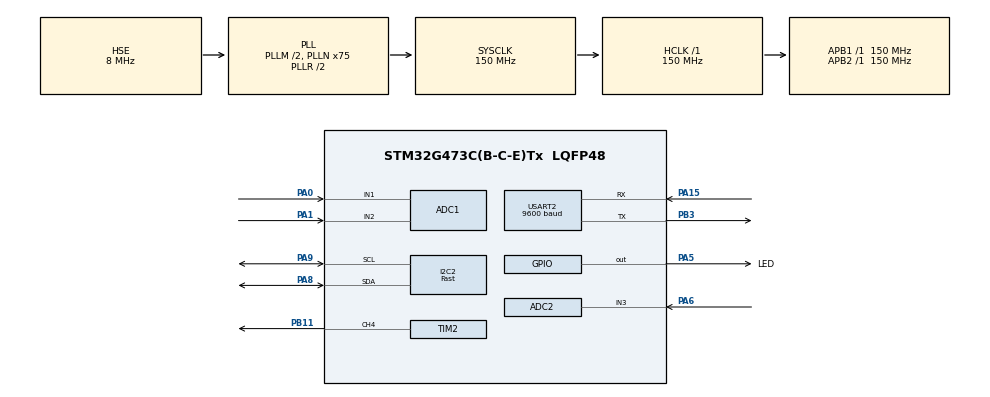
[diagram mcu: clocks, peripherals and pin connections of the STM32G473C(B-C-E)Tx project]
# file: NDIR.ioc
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ADC1.Channel-0\#ChannelRegularConversion=ADC_CHANNEL_1
ADC1.Channel-1\#ChannelRegularConversion=ADC_CHANNEL_2
ADC1.ClockPrescaler=ADC_CLOCK_ASYNC_DIV16
ADC1.ContinuousConvMode=DISABLE
ADC1.DMAContinuousRequests=ENABLE
ADC1.ExternalTrigConv=ADC_EXTERNALTRIG_T15_TRGO
ADC1.NbrOfConversion=2
ADC1.NbrOfConversionFlag=1
ADC1.OffsetNumber-0\#ChannelRegularConversion=ADC_OFFSET_NONE
ADC1.OffsetNumber-1\#ChannelRegularConversion=ADC_OFFSET_NONE
ADC1.Rank-0\#ChannelRegularConversion=1
ADC1.Rank-1\#ChannelRegularConversion=2
ADC1.SamplingTime-0\#ChannelRegularConversion=ADC_SAMPLETIME_24CYCLES_5
ADC1.SamplingTime-1\#ChannelRegularConversion=ADC_SAMPLETIME_24CYCLES_5
ADC1.master=1
ADC2.Channel-1\#ChannelRegularConversion=ADC_CHANNEL_3
ADC2.ClockPrescaler=ADC_CLOCK_ASYNC_DIV16
ADC2.ContinuousConvMode=DISABLE
ADC2.DMAContinuousRequests=ENABLE
ADC2.DataAlign=ADC_DATAALIGN_RIGHT
ADC2.ExternalTrigConv=ADC_EXTERNALTRIG_T6_TRGO
ADC2.NbrOfConversionFlag=1
ADC2.OffsetNumber-1\#ChannelRegularConversion=ADC_OFFSET_NONE
ADC2.Rank-1\#ChannelRegularConversion=1
ADC2.Resolution=ADC_RESOLUTION_12B
ADC2.SamplingTime-1\#ChannelRegularConversion=ADC_SAMPLETIME_92CYCLES_5
Dma.ADC1.0.Direction=DMA_PERIPH_TO_MEMORY
Dma.ADC1.0.EventEnable=DISABLE
Dma.ADC1.0.Instance=DMA1_Channel1
Dma.ADC1.0.MemDataAlignment=DMA_MDATAALIGN_HALFWORD
Dma.ADC1.0.MemInc=DMA_MINC_ENABLE
Dma.ADC1.0.Mode=DMA_CIRCULAR
Dma.ADC1.0.PeriphDataAlignment=DMA_PDATAALIGN_HALFWORD
Dma.ADC1.0.PeriphInc=DMA_PINC_DISABLE
Dma.ADC1.0.Polarity=HAL_DMAMUX_REQ_GEN_RISING
Dma.ADC1.0.Priority=DMA_PRIORITY_LOW
Dma.ADC1.0.RequestNumber=1
Dma.ADC1.0.SignalID=NONE
Dma.ADC1.0.SyncEnable=DISABLE
Dma.ADC1.0.SyncPolarity=HAL_DMAMUX_SYNC_NO_EVENT
Dma.ADC1.0.SyncRequestNumber=1
Dma.ADC1.0.SyncSignalID=NONE
Dma.ADC2.1.Direction=DMA_PERIPH_TO_MEMORY
Dma.ADC2.1.EventEnable=DISABLE
Dma.ADC2.1.Instance=DMA1_Channel2
Dma.ADC2.1.MemDataAlignment=DMA_MDATAALIGN_HALFWORD
Dma.ADC2.1.MemInc=DMA_MINC_ENABLE
Dma.ADC2.1.Mode=DMA_CIRCULAR
Dma.ADC2.1.PeriphDataAlignment=DMA_PDATAALIGN_HALFWORD
Dma.ADC2.1.PeriphInc=DMA_PINC_DISABLE
Dma.ADC2.1.Polarity=HAL_DMAMUX_REQ_GEN_RISING
Dma.ADC2.1.Priority=DMA_PRIORITY_LOW
Dma.ADC2.1.RequestNumber=1
Dma.ADC2.1.SignalID=NONE
Dma.ADC2.1.SyncEnable=DISABLE
Dma.ADC2.1.SyncPolarity=HAL_DMAMUX_SYNC_NO_EVENT
Dma.ADC2.1.SyncRequestNumber=1
Dma.ADC2.1.SyncSignalID=NONE
Dma.Request0=ADC1
Dma.Request1=ADC2
I2C2.I2C_Speed_Mode=I2C_Fast
I2C2.Speed=400
I2C2.Timing=0x00E063FF
Mcu.Family=STM32G4
Mcu.Name=STM32G473C(B-C-E)Tx
Mcu.Package=LQFP48
NVIC.DMA1_Channel1_IRQn=true\:5\:0\:true\:false\:true\:false\:true\:true
NVIC.DMA1_Channel2_IRQn=true\:6\:0\:true\:false\:true\:false\:true\:true
NVIC.PriorityGroup=NVIC_PRIORITYGROUP_4
NVIC.TIM3_IRQn=true\:3\:0\:true\:false\:true\:true\:true\:true
NVIC.TIM4_IRQn=true\:2\:0\:true\:false\:true\:true\:true\:true
NVIC.TIM5_IRQn=true\:1\:0\:true\:false\:true\:true\:true\:true
NVIC.TIM7_DAC_IRQn=true\:4\:0\:true\:false\:true\:true\:true\:true
NVIC.USART2_IRQn=true\:0\:0\:true\:false\:true\:true\:true\:true
PA0.Mode=IN1-Single-Ended
PA0.Signal=ADC1_IN1
PA1.Mode=IN2-Single-Ended
PA1.Signal=ADC1_IN2
PA13.Mode=Serial_Wire
PA13.Signal=SYS_JTMS-SWDIO
PA14.Mode=Serial_Wire
PA14.Signal=SYS_JTCK-SWCLK
PA15.Mode=Asynchronous
PA15.Signal=USART2_RX
PA5.GPIO_Label=LED
PA5.Signal=GPIO_Output
PA6.Mode=IN3-Single-Ended
PA6.Signal=ADC2_IN3
PA8.Mode=I2C
PA8.Signal=I2C2_SDA
PA9.Mode=I2C
PA9.Signal=I2C2_SCL
PB11.Signal=S_TIM2_CH4
PB3.Mode=Asynchronous
PB3.Signal=USART2_TX
PF0-OSC_IN.Mode=HSE-External-Oscillator
PF0-OSC_IN.Signal=RCC_OSC_IN
PF1-OSC_OUT.Mode=HSE-External-Oscillator
PF1-OSC_OUT.Signal=RCC_OSC_OUT
ProjectManager.HeapSize=0x200
ProjectManager.StackSize=0x400
ProjectManager.TargetToolchain=Makefile
RCC.ADC12CLockSelection=RCC_ADC12CLKSOURCE_PLL
RCC.ADC12Freq_Value=75000000
RCC.ADC345Freq_Value=150000000
RCC.AHBFreq_Value=150000000
RCC.APB1Freq_Value=150000000
RCC.APB1TimFreq_Value=150000000
RCC.APB2Freq_Value=150000000
RCC.APB2TimFreq_Value=150000000
RCC.CortexFreq_Value=150000000
RCC.EXTERNAL_CLOCK_VALUE=12288000
RCC.HCLKFreq_Value=150000000
RCC.HSE_VALUE=8000000
RCC.HSI48_VALUE=48000000
RCC.HSI_VALUE=16000000
RCC.LSE_VALUE=32768
RCC.PLLM=RCC_PLLM_DIV2
RCC.PLLN=75
RCC.PLLP=RCC_PLLP_DIV4
RCC.PLLSourceVirtual=RCC_PLLSOURCE_HSE
RCC.SYSCLKFreq_VALUE=150000000
RCC.SYSCLKSource=RCC_SYSCLKSOURCE_PLLCLK
RCC.USBFreq_Value=150000000
RCC.VCOOutputFreq_Value=300000000
SH.S_TIM2_CH4.0=TIM2_CH4,PWM Generation4 CH4
TIM15.PeriodNoDither=800-1
TIM15.Prescaler=150-1
TIM15.TIM_MasterOutputTrigger=TIM_TRGO_UPDATE
TIM2.Channel-PWM\ Generation4\ CH4=TIM_CHANNEL_4
TIM2.OCMode_PWM-PWM\ Generation4\ CH4=TIM_OCMODE_PWM2
TIM2.PeriodNoDither=10000-1
TIM2.Prescaler=1-1
TIM2.PulseNoDither_4=7500
TIM3.PeriodNoDither=10000-1
TIM3.Prescaler=15000-1
TIM4.PeriodNoDither=5000-1
TIM4.Prescaler=15000-1
TIM5.PeriodNoDither=100-1
TIM5.Prescaler=1500-1
TIM6.PeriodNoDither=50000-1
TIM6.Prescaler=1500-1
TIM6.TIM_MasterOutputTrigger=TIM_TRGO_UPDATE
TIM7.PeriodNoDither=1000-1
TIM7.Prescaler=150-1
USART2.BaudRate=9600
USART2.VirtualMode-Asynchronous=VM_ASYNC
VP_SYS_VS_DBSignals.Mode=DisableDeadBatterySignals
VP_TIM15_VS_ClockSourceINT.Mode=Internal
VP_TIM2_VS_ClockSourceINT.Mode=Internal
VP_TIM3_VS_ClockSourceINT.Mode=Internal
VP_TIM4_VS_ClockSourceINT.Mode=Internal
VP_TIM5_VS_ClockSourceINT.Mode=Internal
VP_TIM6_VS_ClockSourceINT.Mode=Enable_Timer
VP_TIM7_VS_ClockSourceINT.Mode=Enable_Timer
board=custom

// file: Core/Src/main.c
/* USER CODE BEGIN Header */
/*
                       _oo0oo_
                      o8888888o
                      88" . "88
                      (| -_- |)
                      0\  =  /0
                    ___/`---'\___
                  .' \\|     |// '.
                 / \\|||  :  |||// \
                / _||||| -:- |||||- \
               |   | \\\  -  /// |   |
               | \_|  ''\---/''  |_/ |
               \  .-\__  '-'  ___/-. /
             ___'. .'  /--.--\  `. .'___
          ."" '<  `.___\_<|>_/___.' >' "".
         | | :  `- \`.;`\ _ /`;.`/ - ` : | |
         \  \ `_.   \_ __\ /__ _/   .-` /  /
     =====`-.____`.___ \_____/___.-`___.-'=====
                       `=---='
     ~~~~~~~~~~~~~~~~~~~~~~~~~~~~~~~~~~~~~~~~~~~
*/
/**
 ******************************************************************************
 * @file           : main.c
 * @brief          : Main program body
 ******************************************************************************
 * @attention
 *
 * Copyright (c) 2024 STMicroelectronics.
 * All rights reserved.
 *
 * This software is licensed under terms that can be found in the LICENSE file
 * in the root directory of this software component.
 * If no LICENSE file comes with this software, it is provided AS-IS.
 *
 ******************************************************************************
 */
/* USER CODE END Header */
#include "main.h"
#include "adc.h"
#include "dma.h"
#include "i2c.h"
#include "tim.h"
#include "usart.h"
#include "gpio.h"

/* USER CODE BEGIN Includes */
#include "pid.h"
#include "led.h"
#include "ds18b20.h"
#include "stdio.h"
#include <inttypes.h>
#include <string.h>
#include "ina226.h"
#include "filter.h"
#include "flash.h"
/* USER CODE END Includes */

void SystemClock_Config(void);
/* USER CODE BEGIN PFP */

#define IR 8

#if IR == 1 // 银色 老外
#define IR_PID_P 12.5f
#define IR_PID_I 2.8f
#define IR_PID_D 25.0f
#endif // DEBUG

#if IR == 2 // 002
#define IR_PID_P 11.5f
#define IR_PID_I 1.7f
#define IR_PID_D 20.0f
#endif // DEBUG

#if IR == 3 // 003 CO
#define IR_PID_P 7.2f
#define IR_PID_I 0.9f
#define IR_PID_D 7.0f
#endif // DEBUG

#if IR == 6 // 006
#define IR_PID_P 12.0f
#define IR_PID_I 2.05f
#define IR_PID_D 20.0f
#endif // DEBUG

#if IR == 7 // CO 001
// #define IR_PID_P 13.0f
// #define IR_PID_I 3.2f
// #define IR_PID_D 15.0f
#define IR_PID_P           7.0f
#define IR_PID_I           1.5f
#define IR_PID_D           0.0f
#define IR_PID_MAXOUTPUT   9000
#define IR_PID_MAXINTEGRAL 9000
#endif // DEBUG

#if IR == 8 // CO 002
#define IR_PID_P           12.0f
#define IR_PID_I           2.5f
#define IR_PID_D           5.0f
#define IR_PID_MAXOUTPUT   9000
#define IR_PID_MAXINTEGRAL 9000
#endif // DEBUG

#define DATA_SIZE 5500 // 5500
#define PEAK_SIZE 4

/* USER CODE END PFP */

/* USER CODE BEGIN 0 */
/*****************************************************************/
float SF6_PPM_ADC; // 信号值ADC
uint16_t SF6_PPM;
/*****************************************************************/
uint64_t Flash_Data[32] = {}; // Flash数据
uint8_t SF6_Data[9];          // 数据上传数组
float SF6_Coefficient;        // 标定斜率
float SF6_Intercept;          // 标定截距
/*****************************************************************/
float Temperature = 0;         // 温度
uint16_t Temperarure_Data[10]; // 温度数据
/*****************************************************************/
Mypid_t IR_PID;            // PID参数
extern float Goal_Pow;     // 设定功率值
extern float Goal_Voltage; // 设定电压值
/*****************************************************************/
uint16_t ADC1_Value[DATA_SIZE][2]; // 双通道ADC数据
float ADC_IN1_Data[DATA_SIZE];     // ADC1通道1数据 参比通道
float ADC_IN2_Data[DATA_SIZE];     // ADC1通道2数据 信号通道
float ADC_IN1_FirData[DATA_SIZE];  // ADC1通道1滤波数据
float ADC_IN2_FirData[DATA_SIZE];  // ADC1通道2滤波数据
float PeaktoPeak1[PEAK_SIZE];      // ADC1通道1峰峰值
float MinitoMini1[PEAK_SIZE];      // ADC1通道1谷谷值
float PeaktoPeak2[PEAK_SIZE];      // ADC1通道2峰峰值
float MinitoMini2[PEAK_SIZE];      // ADC1通道2谷谷值
float Peak_Average1;               // 参比通道峰峰值平均
float Min_Average1;                // 参比通道谷谷值平均
float Peak_Min1;                   // 参比通道峰谷值
float Peak_Average2;               // 信号通道峰峰值平均
float Min_Average2;                // 信号通道谷谷值平均
float Peak_Min2;                   // 信号通道峰谷值
/*****************************************************************/
static void SF6_Data_Init(void);
static void SF6_Data_Updata(uint8_t *pData, uint16_t SF6_Data);
/*****************************************************************/
/* USER CODE END 0 */

int main(void)
{

  /* MCU Configuration--------------------------------------------------------*/

  /* Reset of all peripherals, Initializes the Flash interface and the Systick. */
  HAL_Init();

  /* Configure the system clock */
  SystemClock_Config();

  /* Initialize all configured peripherals */
  MX_GPIO_Init();
  MX_DMA_Init();
  MX_ADC1_Init();
  MX_ADC2_Init();
  MX_I2C2_Init();
  MX_USART2_UART_Init();
  MX_TIM2_Init();
  MX_TIM4_Init();
  MX_TIM5_Init();
  MX_TIM6_Init();
  MX_TIM15_Init();
  MX_TIM3_Init();
  MX_TIM7_Init();
  /* USER CODE BEGIN 2 */
    SF6_Data_Init();
    INA226_Init();
    Led_ledOff();
    HAL_TIM_PWM_Start_IT(&htim2, TIM_CHANNEL_4); // 开启PWM通道4
    // HAL_Delay(10000);
    PID_Init(&IR_PID, IR_PID.kp, IR_PID.ki, IR_PID.kd, IR_PID_MAXOUTPUT, IR_PID_MAXINTEGRAL);
    HAL_ADCEx_Calibration_Start(&hadc1, ADC_SINGLE_ENDED); // 初始校准
    HAL_ADCEx_Calibration_Start(&hadc2, ADC_SINGLE_ENDED); // 初始校准

    HAL_ADC_Start_DMA(&hadc2, (uint32_t *)&Temperarure_Data, 10); // 2Hz温度采集
    HAL_TIM_Base_Start_IT(&htim4);
    HAL_TIM_Base_Start_IT(&htim5);
  /* USER CODE END 2 */

  /* Infinite loop */
    while (1) {

    /* USER CODE BEGIN 3 */
        // Flash_Data_Rrase(ADDR_FLASH_PAGE_63);
        // Flash_Data_Write(ADDR_FLASH_PAGE_63, Flash_Data);
        // Flash_Data_Read(ADDR_FLASH_PAGE_63, Flash_Data);

        //   等待驱动信号上升沿
        while (!RI_Status_Get()) {
            Led_ledOff();
        }
        // 上升沿开始采集
        HAL_ADC_Start_DMA(&hadc1, (uint32_t *)ADC1_Value, 2 * DATA_SIZE);
        while (ADC1_Value[DATA_SIZE - 1][1] == 0) {
            Led_ledOff();
        }
        HAL_ADC_Stop_DMA(&hadc1);
        for (uint32_t i = 0; i < DATA_SIZE; i++) {
            ADC_IN1_Data[i]  = ADC1_Value[i][0];
            ADC_IN2_Data[i]  = ADC1_Value[i][1];
            ADC1_Value[i][0] = 0;
            ADC1_Value[i][1] = 0;
        }
        // 采集完成之后进行FIR滤波
        arm_fir_f32_lp(ADC_IN1_Data, ADC_IN1_FirData, DATA_SIZE);
        arm_fir_f32_lp(ADC_IN2_Data, ADC_IN2_FirData, DATA_SIZE);
        NDIR_Data_Processor(ADC_IN1_FirData, PeaktoPeak1, MinitoMini1);
        NDIR_Data_Processor(ADC_IN2_FirData, PeaktoPeak2, MinitoMini2);
        // 分离各峰值和谷值及信号值ADC
        Peak_Average1 = (PeaktoPeak1[0] + PeaktoPeak1[1] + PeaktoPeak1[2] + PeaktoPeak1[3]) / 4;
        Min_Average1  = (MinitoMini1[0] + MinitoMini1[1] + MinitoMini1[2] + MinitoMini1[3]) / 4;
        Peak_Min1     = Peak_Average1 - Min_Average1;

        Peak_Average2 = (PeaktoPeak2[0] + PeaktoPeak2[1] + PeaktoPeak2[2] + PeaktoPeak2[3]) / 4;
        Min_Average2  = (MinitoMini2[0] + MinitoMini2[1] + MinitoMini2[2] + MinitoMini2[3]) / 4;
        Peak_Min2     = Peak_Average2 - Min_Average2;

        SF6_PPM_ADC = ((((PeaktoPeak2[0] - PeaktoPeak1[0]) + (MinitoMini1[0] - MinitoMini2[0]) + (PeaktoPeak2[1] - PeaktoPeak1[1]) + (MinitoMini1[1] - MinitoMini2[1]) + (PeaktoPeak2[2] - PeaktoPeak1[2]) + (MinitoMini1[2] - MinitoMini2[2]) + (PeaktoPeak2[3] - PeaktoPeak1[3]) + (MinitoMini1[3] - MinitoMini2[3])) / 4));
        Temperature = (float)(Average_Filter(Temperarure_Data, 10) * 330) / 4095;
        // printf("%.2f,%.2f,%.2f,%.2f,%.2f,%.2f,%.2f,%.2f\r\n", SF6_PPM_ADC, Temperature, Min_Average1, Peak_Average1, Min_Average2, Peak_Average2, Peak_Min1, Peak_Min2);
        SF6_PPM = (uint16_t)((SF6_Coefficient * SF6_PPM_ADC) + SF6_Intercept);
        // printf("%d,%.2f\r\n", SF6_PPM, SF6_PPM_ADC);
        if (SF6_PPM < 0) SF6_PPM = 0;
        if (SF6_PPM > 5000) SF6_PPM = 5000;
        SF6_Data_Updata(SF6_Data, (uint16_t)SF6_PPM);
        // 等待驱动信号下降沿 确保信号采集时是新的驱动周期开始时采集
        while (RI_Status_Get()) {
            Led_ledOff();
        }
    }
  /* USER CODE END 3 */
}

void SystemClock_Config(void)
{
  RCC_OscInitTypeDef RCC_OscInitStruct = {0};
  RCC_ClkInitTypeDef RCC_ClkInitStruct = {0};

  /** Configure the main internal regulator output voltage
  */
  HAL_PWREx_ControlVoltageScaling(PWR_REGULATOR_VOLTAGE_SCALE1);

  /** Initializes the RCC Oscillators according to the specified parameters
  * in the RCC_OscInitTypeDef structure.
  */
  RCC_OscInitStruct.OscillatorType = RCC_OSCILLATORTYPE_HSE;
  RCC_OscInitStruct.HSEState = RCC_HSE_ON;
  RCC_OscInitStruct.PLL.PLLState = RCC_PLL_ON;
  RCC_OscInitStruct.PLL.PLLSource = RCC_PLLSOURCE_HSE;
  RCC_OscInitStruct.PLL.PLLM = RCC_PLLM_DIV2;
  RCC_OscInitStruct.PLL.PLLN = 75;
  RCC_OscInitStruct.PLL.PLLP = RCC_PLLP_DIV4;
  RCC_OscInitStruct.PLL.PLLQ = RCC_PLLQ_DIV2;
  RCC_OscInitStruct.PLL.PLLR = RCC_PLLR_DIV2;
  if (HAL_RCC_OscConfig(&RCC_OscInitStruct) != HAL_OK)
  {
    Error_Handler();
  }

  /** Initializes the CPU, AHB and APB buses clocks
  */
  RCC_ClkInitStruct.ClockType = RCC_CLOCKTYPE_HCLK|RCC_CLOCKTYPE_SYSCLK
                              |RCC_CLOCKTYPE_PCLK1|RCC_CLOCKTYPE_PCLK2;
  RCC_ClkInitStruct.SYSCLKSource = RCC_SYSCLKSOURCE_PLLCLK;
  RCC_ClkInitStruct.AHBCLKDivider = RCC_SYSCLK_DIV1;
  RCC_ClkInitStruct.APB1CLKDivider = RCC_HCLK_DIV1;
  RCC_ClkInitStruct.APB2CLKDivider = RCC_HCLK_DIV1;

  if (HAL_RCC_ClockConfig(&RCC_ClkInitStruct, FLASH_LATENCY_4) != HAL_OK)
  {
    Error_Handler();
  }
}

/* USER CODE BEGIN 4 */
/**
 * @brief    数据初始化
 * @param  	 无
 * @retval   无
 */
static void SF6_Data_Init(void)
{
    SF6_Data[0] = 0xFF;
    SF6_Data[1] = 0x10;
    SF6_Data[2] = 0x04;
    SF6_Data[3] = 0x00;
    SF6_Data[4] = 0x00;
    SF6_Data[5] = 0x00;
    SF6_Data[6] = 0x13;
    SF6_Data[7] = 0x88;
    SF6_Data[8] = 0x51;

    // Flash_Data[0] = 0x01;
    // Flash_Data[1] = 1200;
    // Flash_Data[2] = 250;
    // Flash_Data[3] = 500;
    // Flash_Data[4] = 2903326;
    // Flash_Data[5] = 2631052387;

    Flash_Data_Read(ADDR_FLASH_PAGE_63, Flash_Data);
    // 读取Flash中的PID参数
    IR_PID.kp = (float)Flash_Data[1] / 100;
    IR_PID.ki = (float)Flash_Data[2] / 100;
    IR_PID.kd = (float)Flash_Data[3] / 100;
    // // 读取Flash中的标定系数
    SF6_Coefficient = -(float)Flash_Data[4] / 100000;
    SF6_Intercept   = (float)Flash_Data[5] / 100000;
}
/**
 * @brief    数据更新
 * @param  	 数据存放数组
 * @param  	 更新的数据
 * @retval   无
 */
static void SF6_Data_Updata(uint8_t *pData, uint16_t SF6_PPM)
{
    uint8_t temp = 0;
    pData[4]     = SF6_PPM >> 8;
    pData[5]     = SF6_PPM;

    for (uint8_t i = 1; i < 8; i++) {
        temp = temp + pData[i];
    }
    temp     = (~temp) + 1;
    pData[8] = temp;
}
// /**
//  * @brief    数据校验
//  * @param  	 接收数据存放数组
//  * @retval   数据正确返回1 错误返回0
//  */
// uint8_t WL_CO_5000_Data_Check(uint8_t *pData)
// {
//     uint8_t sum = 0;
//     for (uint8_t i = 1; i < 8; i++) {
//         sum = sum + pData[i];
//     }
//     sum = (~sum) + 1;
//     if (pData[8] == sum) {
//         return 1;
//     } else {
//         return 0;
//     }
// }
/**
 * @brief    解算ADC值获取
 * @param  	 无
 * @retval   解算ADC值
 */
float SF6_Data_Get(void)
{
    return SF6_PPM_ADC;
}

/**
 * @brief    设备ID获取
 * @param  	 无
 * @retval   设备ID号
 */
uint8_t SF6_ID_Get(void)
{
    return (uint8_t)Flash_Data[0];
}

/**
 * @brief    斜率更改
 * @param  	 斜率
 * @retval   无
 */
void SF6_Coefficient_Set(float Coefficient)
{
    SF6_Coefficient = Coefficient;
}
/**
 * @brief    截距更改
 * @param  	 截距
 * @retval   无
 */
void SF6_Intercept_Set(float Intercept)
{
    SF6_Intercept = Intercept;
}
/**
 * @brief    标定系数更改
 * @param  	 斜率
 * @param  	 截距
 * @retval   斜率
 */
void SF6_Zero_Calibration(float Coefficient, float Intercept)
{
    Flash_Data[4] = (uint64_t)((-Coefficient) * 100000);
    Flash_Data[5] = (uint64_t)(Intercept * 100000);

    Flash_Data_Rrase(ADDR_FLASH_PAGE_63);
    Flash_Data_Write(ADDR_FLASH_PAGE_63, Flash_Data);
}
/* USER CODE END 4 */

void Error_Handler(void)
{
    __disable_irq();
    while (1) {
    }
}
